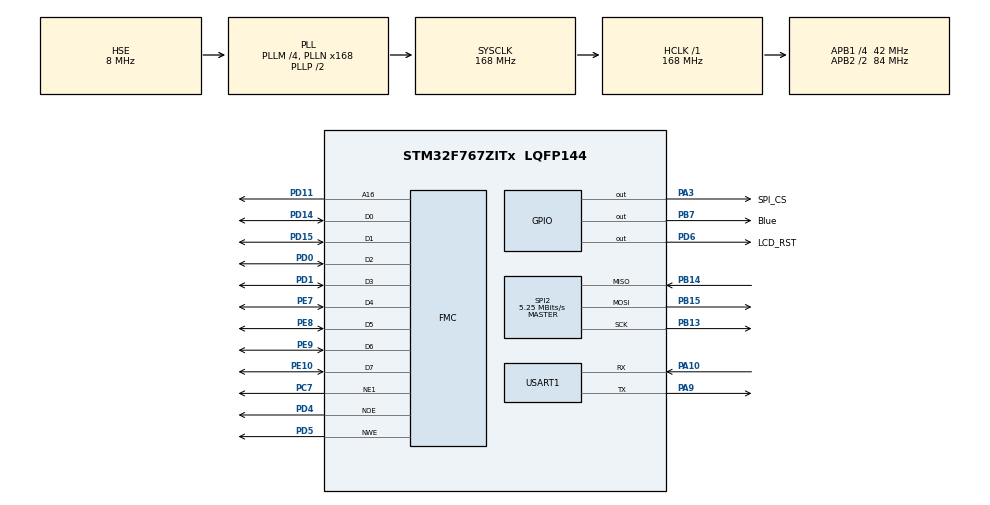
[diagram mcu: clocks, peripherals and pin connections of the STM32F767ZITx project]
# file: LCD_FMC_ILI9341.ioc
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FATFS._MAX_SS=4096
FATFS._USE_LFN=1
FMC.AddressSetupTime1=2
FMC.DataSetupTime1=15
FMC.ExtendedAddressSetupTime1=2
FMC.ExtendedBusTurnAroundDuration1=3
FMC.ExtendedDataSetupTime1=3
FMC.ExtendedMode1=FMC_EXTENDED_MODE_ENABLE
Mcu.Family=STM32F7
Mcu.Name=STM32F767ZITx
Mcu.Package=LQFP144
NVIC.PriorityGroup=NVIC_PRIORITYGROUP_4
NVIC.TIM2_IRQn=true\:0\:0\:false\:false\:true\:true\:true
NVIC.USART1_IRQn=true\:0\:0\:false\:false\:true\:true\:true
PA10.Mode=Asynchronous
PA10.Signal=USART1_RX
PA13.Mode=Serial_Wire
PA13.Signal=SYS_JTMS-SWDIO
PA14.Mode=Serial_Wire
PA14.Signal=SYS_JTCK-SWCLK
PA3.GPIO_Label=SPI_CS
PA3.GPIO_Speed=GPIO_SPEED_FREQ_MEDIUM
PA3.Signal=GPIO_Output
PA9.Mode=Asynchronous
PA9.Signal=USART1_TX
PB13.Mode=Full_Duplex_Master
PB13.Signal=SPI2_SCK
PB14.Mode=Full_Duplex_Master
PB14.Signal=SPI2_MISO
PB15.Mode=Full_Duplex_Master
PB15.Signal=SPI2_MOSI
PB7.GPIO_Label=Blue
PB7.GPIO_Speed=GPIO_SPEED_FREQ_MEDIUM
PB7.Signal=GPIO_Output
PC7.Mode=NorPsramChipSelect1_1
PC7.Signal=FMC_NE1
PD0.Signal=FMC_D2_DA2
PD1.Signal=FMC_D3_DA3
PD11.Signal=FMC_A16_CLE
PD14.Signal=FMC_D0_DA0
PD15.Signal=FMC_D1_DA1
PD4.Signal=FMC_NOE
PD5.Signal=FMC_NWE
PD6.GPIO_Label=LCD_RST
PD6.GPIO_Speed=GPIO_SPEED_FREQ_HIGH
PD6.Signal=GPIO_Output
PE10.Signal=FMC_D7_DA7
PE7.Signal=FMC_D4_DA4
PE8.Signal=FMC_D5_DA5
PE9.Signal=FMC_D6_DA6
PH0/OSC_IN.Mode=HSE-External-Clock-Source
PH0/OSC_IN.Signal=RCC_OSC_IN
PH1/OSC_OUT.Mode=HSE-External-Clock-Source
PH1/OSC_OUT.Signal=RCC_OSC_OUT
ProjectManager.HeapSize=0x1000
ProjectManager.StackSize=0x2000
ProjectManager.TargetToolchain=TrueSTUDIO
RCC.AHBFreq_Value=168000000
RCC.APB1CLKDivider=RCC_HCLK_DIV4
RCC.APB1Freq_Value=42000000
RCC.APB1TimFreq_Value=84000000
RCC.APB2CLKDivider=RCC_HCLK_DIV2
RCC.APB2Freq_Value=84000000
RCC.APB2TimFreq_Value=168000000
RCC.CortexFreq_Value=168000000
RCC.HCLKFreq_Value=168000000
RCC.HSE_VALUE=8000000
RCC.HSI_VALUE=16000000
RCC.LSE_VALUE=32768
RCC.PLLM=4
RCC.PLLN=168
RCC.PLLQ=7
RCC.PLLSourceVirtual=RCC_PLLSOURCE_HSE
RCC.SYSCLKFreq_VALUE=168000000
RCC.SYSCLKSource=RCC_SYSCLKSOURCE_PLLCLK
RCC.USBFreq_Value=48000000
RCC.VCOOutputFreq_Value=336000000
SH.FMC_A16_CLE.0=FMC_A16,A16_1
SH.FMC_D0_DA0.0=FMC_D0,8b-d1
SH.FMC_D1_DA1.0=FMC_D1,8b-d1
SH.FMC_D2_DA2.0=FMC_D2,8b-d1
SH.FMC_D3_DA3.0=FMC_D3,8b-d1
SH.FMC_D4_DA4.0=FMC_D4,8b-d1
SH.FMC_D5_DA5.0=FMC_D5,8b-d1
SH.FMC_D6_DA6.0=FMC_D6,8b-d1
SH.FMC_D7_DA7.0=FMC_D7,8b-d1
SH.FMC_NOE.0=FMC_NOE,Lcd1
SH.FMC_NWE.0=FMC_NWE,Lcd1
SPI2.BaudRatePrescaler=SPI_BAUDRATEPRESCALER_8
SPI2.CalculateBaudRate=5.25 MBits/s
SPI2.DataSize=SPI_DATASIZE_8BIT
SPI2.Direction=SPI_DIRECTION_2LINES
SPI2.Mode=SPI_MODE_MASTER
SPI2.VirtualType=VM_MASTER
TIM2.Period=20
TIM2.Prescaler=41999
USART1.VirtualMode-Asynchronous=VM_ASYNC
VP_FATFS_VS_Generic.Mode=User_defined
VP_RNG_VS_RNG.Mode=RNG_Activate
VP_TIM2_VS_ClockSourceINT.Mode=Internal
board=custom

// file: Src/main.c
/* USER CODE BEGIN Header */
/**
  ******************************************************************************
  * @file           : main.c
  * @brief          : Main program body
  ******************************************************************************
  * @attention
  *
  * <h2><center>&copy; Copyright (c) 2019 STMicroelectronics.
  * All rights reserved.</center></h2>
  *
  * This software component is licensed by ST under BSD 3-Clause license,
  * the "License"; You may not use this file except in compliance with the
  * License. You may obtain a copy of the License at:
  *                        opensource.org/licenses/BSD-3-Clause
  *
  ******************************************************************************
  */
/* USER CODE END Header */

#include "main.h"
#include "fatfs.h"

/* USER CODE BEGIN Includes */
#include <string.h>
#include <stdio.h>
#include "DWT_us.h"
#include "sd.h"
/* USER CODE END Includes */

RNG_HandleTypeDef hrng;

SPI_HandleTypeDef hspi2;

TIM_HandleTypeDef htim2;

UART_HandleTypeDef huart1;

SRAM_HandleTypeDef hsram1;

/* USER CODE BEGIN PV */
volatile uint16_t Timer1 = 0;
uint8_t sect[512];
//char buffer1[512] = "Test text stringTest text stringTest text stringTest text stringTest text stringTest text stringTest text stringTest text stringTest text stringTest text stringTest text stringTest text stringTest text stringTest text stringTest text stringTest text stringTest text stringTest text stringTest text stringTest text stringTest text stringTest text stringTest text stringTest text stringTest text stringTest text stringTest text stringTest text stringTest text stringTest text stringTest text stringTest text string";
extern char str1[60];
uint32_t byteswritten,bytesread;
uint8_t result;
extern char USERPath[4]; /* logical drive path */
FATFS SDFatFs;
//FATFS *fs;
FIL MyFile;
FILINFO fno;
/* USER CODE END PV */

void SystemClock_Config(void);
static void MX_GPIO_Init(void);
static void MX_FMC_Init(void);
static void MX_RNG_Init(void);
static void MX_GFXSIMULATOR_Init(void);
static void MX_SPI2_Init(void);
static void MX_TIM2_Init(void);
static void MX_USART1_UART_Init(void);

/* USER CODE BEGIN 0 */
/*__STATIC_INLINE void DelayMicro(__IO uint32_t micros)
{
       micros *=(SystemCoreClock / 1000000) / 5;
       while (micros--);
}*/
FRESULT ReadLongFile(void)
{
	uint16_t i=0, i1=0;
	uint32_t ind=0;
	uint32_t f_size = fno.fsize;
	sprintf(str1,"fsize: %lu\r\n",(unsigned long)f_size);
	HAL_UART_Transmit(&huart1,(uint8_t*)str1,strlen(str1),0x1000);
	ind=0;
	do
	{
		if(f_size<512)
		{
			i1=f_size;
		}
		else
		{
			i1=512;
		}
		f_size-=i1;
		f_lseek(&MyFile,ind);
		f_read(&MyFile,sect,i1,(UINT *)&bytesread);
		for(i=0;i<bytesread;i++)
		{
			HAL_UART_Transmit(&huart1,sect+i,1,0x1000);
		}
		ind+=i1;
	}
	while (f_size>0);
	HAL_UART_Transmit(&huart1,(uint8_t*)"\r\n",2,0x1000);
	return FR_OK;
}
/* USER CODE END 0 */

int main(void)
{
  /* USER CODE BEGIN 1 */
	FRESULT res; //результат выполнения
	uint8_t wtext[]="Hello from STM32!!!";
	FILINFO fileInfo;
	char *fn;
	DIR dir;
	DWORD fre_clust, fre_sect, tot_sect;
  /* USER CODE END 1 */

  /* MCU Configuration--------------------------------------------------------*/

  /* Reset of all peripherals, Initializes the Flash interface and the Systick. */
  HAL_Init();

  /* Configure the system clock */
  SystemClock_Config();

  /* Initialize all configured peripherals */
  MX_GPIO_Init();
  MX_FMC_Init();
  MX_RNG_Init();
  MX_GFXSIMULATOR_Init();
  MX_SPI2_Init();
  MX_TIM2_Init();
  MX_USART1_UART_Init();
  MX_FATFS_Init();
  /* USER CODE BEGIN 2 */
  HAL_TIM_Base_Start_IT(&htim2);

  disk_initialize(SDFatFs.drv);
  /*if(f_mount(&SDFatFs,(TCHAR const*)USERPath,0)!=FR_OK)
  {
	  Error_Handler();
  }
  else
  {
	  FRESULT fr = f_stat("123.TXT",&fno);
	  switch (fr)
	  {
	      case FR_OK:
	    	  sprintf(str1,"Size: %lu\r\n",fno.fsize);
	    	  HAL_UART_Transmit(&huart1,(uint8_t*)str1,strlen(str1),0x1000);
	          break;
	      case FR_NO_FILE:
	    	  HAL_UART_Transmit(&huart1,(uint8_t*)"It is not exist.\r\n", 18, 0x1000);
	          break;
	      default:
	    	  sprintf(str1,"An error occured. (%d)\r\n",fr);
	    	  HAL_UART_Transmit(&huart1,(uint8_t*)str1,strlen(str1),0x1000);
	  }
	  if (f_open(&MyFile,"123.TXT",FA_READ)!=FR_OK)
	  {
		  Error_Handler();
	  }
	  else
	  {
		  ReadLongFile();
		  f_close(&MyFile);
	  }
	  fr = f_open(&MyFile,"123.TXT",FA_READ);
	  if (fr==FR_OK)
	  {
		  ReadLongFile();
		  f_close(&MyFile);
	  }

	  if(f_open(&MyFile,"mywrite.txt",FA_CREATE_ALWAYS|FA_WRITE)!=FR_OK)
	  {
	      Error_Handler();
	  }
	  else
	  {
	      res=f_write(&MyFile,wtext,sizeof(wtext),(void*)&byteswritten);
	      if((byteswritten==0)||(res!=FR_OK))
	      {
	    	  Error_Handler();
	      }
	      f_close(&MyFile);
	  }
  }*/

  //read dir
  if(f_mount(&SDFatFs,(TCHAR const*)USERPath,0)!=FR_OK)
  {
	  Error_Handler();
  }
  else
  {
	  //fileInfo.fname = (char*)sect;
	  //fileInfo.fsize = sizeof(sect);
	  result = f_opendir(&dir, "/");
	  if (result == FR_OK)
	  {
		  while(1)
		  {
		      result = f_readdir(&dir, &fileInfo);
		      if (result==FR_OK && fileInfo.fname[0])
		      {
		    	  fn = fileInfo.fname;
		    	  if(strlen(fn)) HAL_UART_Transmit(&huart1,(uint8_t*)fn,strlen(fn),0x1000);
		    	  else HAL_UART_Transmit(&huart1,(uint8_t*)fileInfo.fname,strlen((char*)fileInfo.fname),0x1000);
		    	  if(fileInfo.fattrib&AM_DIR)
		    	  {
		    	      HAL_UART_Transmit(&huart1,(uint8_t*)" [DIR]",7,0x1000);
		    	  }
		      }
		      else break;
		      HAL_UART_Transmit(&huart1,(uint8_t*)"\r\n",2,0x1000);
		  }
		  f_closedir(&dir);
	  }
  }
  FATFS_UnLinkDriver(USERPath);

  TFT9341_ini();
  TFT9341_FillScreen(RED);
  /* USER CODE END 2 */

  /* Infinite loop */
  /* USER CODE BEGIN WHILE */
  uint16_t color = 0;
  uint32_t counter = 0;
  while (1)
  {
    /* USER CODE END WHILE */

    /* USER CODE BEGIN 3 */
	  for (counter=0; counter<5; counter++)
	  {
		  color = TFT9341_RandColor();
		  TFT9341_FillRectangle(color,0,0,119,159);
		  HAL_Delay(100);
		  color = TFT9341_RandColor();
		  TFT9341_FillRectangle(color,120,0,239,159);
		  HAL_Delay(100);
		  color = TFT9341_RandColor();
		  TFT9341_FillRectangle(color,0,160,119,319);
		  HAL_Delay(100);
		  color = TFT9341_RandColor();
		  TFT9341_FillRectangle(color,120,160,239,319);
		  HAL_Delay(100);
	  }
	  HAL_Delay(500);
	  TFT9341_FillScreen(BLACK);
	  for(counter=0; counter<15000; counter++)
	  {
		  color = TFT9341_RandColor();

		  TFT9341_DrawPixel(HAL_RNG_GetRandomNumber(&hrng)%240,HAL_RNG_GetRandomNumber(&hrng)%320, color);
		  DelayMicro(100);
	  }
	  HAL_Delay(1000);
	  TFT9341_FillScreen(BLACK);
	  for(int j=0;j<3;j++)
	  {
		  for(counter=0; counter<240; counter++)
		  {
			  color = TFT9341_RandColor();
			  TFT9341_DrawLine(color, counter, 0, counter, 319);
		  }
		  HAL_Delay(10);
	  }
	  HAL_Delay(1000);
	  TFT9341_FillScreen(BLACK);
	  for(counter=0; counter<80; counter++)
	  {
		  color = TFT9341_RandColor();
		  uint16_t y1 = HAL_RNG_GetRandomNumber(&hrng)%320;
		  uint16_t y2 = HAL_RNG_GetRandomNumber(&hrng)%320;
		  TFT9341_DrawLine(color, 2*counter, y1, 3*counter, y2);
		  HAL_Delay(10);
	  }
	  HAL_Delay(1000);
	  TFT9341_FillScreen(BLACK);

	  for(counter=0;counter<3;counter++)
	  {
		  for(int i=0;i<120;i++)
		  {
			  color = TFT9341_RandColor();
			  TFT9341_DrawRect(color,i,i,239-i,319-i);
		  }
		  HAL_Delay(100);
		  if (counter<4) TFT9341_FillScreen(BLACK);
	 }
	 HAL_Delay(1000);
	 TFT9341_FillScreen(BLACK);

	 for(counter=0;counter<100;counter++)
	 {
		 color = TFT9341_RandColor();
		 //uint16_t x = HAL_RNG_GetRandomNumber(&hrng)%190+30;
		 uint16_t y = HAL_RNG_GetRandomNumber(&hrng)%270+30;
		 TFT9341_DrawCircle(20+2*counter, y, 20, color);
	 }
	 HAL_Delay(1000);
	 TFT9341_FillScreen(BLACK);
  }
  /* USER CODE END 3 */
}

void SystemClock_Config(void)
{
  RCC_OscInitTypeDef RCC_OscInitStruct = {0};
  RCC_ClkInitTypeDef RCC_ClkInitStruct = {0};
  RCC_PeriphCLKInitTypeDef PeriphClkInitStruct = {0};

  /** Configure the main internal regulator output voltage
  */
  __HAL_RCC_PWR_CLK_ENABLE();
  __HAL_PWR_VOLTAGESCALING_CONFIG(PWR_REGULATOR_VOLTAGE_SCALE2);
  /** Initializes the CPU, AHB and APB busses clocks
  */
  RCC_OscInitStruct.OscillatorType = RCC_OSCILLATORTYPE_HSE;
  RCC_OscInitStruct.HSEState = RCC_HSE_BYPASS;
  RCC_OscInitStruct.PLL.PLLState = RCC_PLL_ON;
  RCC_OscInitStruct.PLL.PLLSource = RCC_PLLSOURCE_HSE;
  RCC_OscInitStruct.PLL.PLLM = 4;
  RCC_OscInitStruct.PLL.PLLN = 168;
  RCC_OscInitStruct.PLL.PLLP = RCC_PLLP_DIV2;
  RCC_OscInitStruct.PLL.PLLQ = 7;
  if (HAL_RCC_OscConfig(&RCC_OscInitStruct) != HAL_OK)
  {
    Error_Handler();
  }
  /** Initializes the CPU, AHB and APB busses clocks
  */
  RCC_ClkInitStruct.ClockType = RCC_CLOCKTYPE_HCLK|RCC_CLOCKTYPE_SYSCLK
                              |RCC_CLOCKTYPE_PCLK1|RCC_CLOCKTYPE_PCLK2;
  RCC_ClkInitStruct.SYSCLKSource = RCC_SYSCLKSOURCE_PLLCLK;
  RCC_ClkInitStruct.AHBCLKDivider = RCC_SYSCLK_DIV1;
  RCC_ClkInitStruct.APB1CLKDivider = RCC_HCLK_DIV4;
  RCC_ClkInitStruct.APB2CLKDivider = RCC_HCLK_DIV2;

  if (HAL_RCC_ClockConfig(&RCC_ClkInitStruct, FLASH_LATENCY_5) != HAL_OK)
  {
    Error_Handler();
  }
  PeriphClkInitStruct.PeriphClockSelection = RCC_PERIPHCLK_USART1|RCC_PERIPHCLK_CLK48;
  PeriphClkInitStruct.Usart1ClockSelection = RCC_USART1CLKSOURCE_PCLK2;
  PeriphClkInitStruct.Clk48ClockSelection = RCC_CLK48SOURCE_PLL;
  if (HAL_RCCEx_PeriphCLKConfig(&PeriphClkInitStruct) != HAL_OK)
  {
    Error_Handler();
  }
}

static void MX_GFXSIMULATOR_Init(void)
{

}

static void MX_RNG_Init(void)
{

  hrng.Instance = RNG;
  if (HAL_RNG_Init(&hrng) != HAL_OK)
  {
    Error_Handler();
  }

}

static void MX_SPI2_Init(void)
{

  /* SPI2 parameter configuration*/
  hspi2.Instance = SPI2;
  hspi2.Init.Mode = SPI_MODE_MASTER;
  hspi2.Init.Direction = SPI_DIRECTION_2LINES;
  hspi2.Init.DataSize = SPI_DATASIZE_8BIT;
  hspi2.Init.CLKPolarity = SPI_POLARITY_LOW;
  hspi2.Init.CLKPhase = SPI_PHASE_1EDGE;
  hspi2.Init.NSS = SPI_NSS_SOFT;
  hspi2.Init.BaudRatePrescaler = SPI_BAUDRATEPRESCALER_8;
  hspi2.Init.FirstBit = SPI_FIRSTBIT_MSB;
  hspi2.Init.TIMode = SPI_TIMODE_DISABLE;
  hspi2.Init.CRCCalculation = SPI_CRCCALCULATION_DISABLE;
  hspi2.Init.CRCPolynomial = 7;
  hspi2.Init.CRCLength = SPI_CRC_LENGTH_DATASIZE;
  hspi2.Init.NSSPMode = SPI_NSS_PULSE_ENABLE;
  if (HAL_SPI_Init(&hspi2) != HAL_OK)
  {
    Error_Handler();
  }

}

static void MX_TIM2_Init(void)
{

  TIM_ClockConfigTypeDef sClockSourceConfig = {0};
  TIM_MasterConfigTypeDef sMasterConfig = {0};

  htim2.Instance = TIM2;
  htim2.Init.Prescaler = 41999;
  htim2.Init.CounterMode = TIM_COUNTERMODE_UP;
  htim2.Init.Period = 20;
  htim2.Init.ClockDivision = TIM_CLOCKDIVISION_DIV1;
  htim2.Init.AutoReloadPreload = TIM_AUTORELOAD_PRELOAD_DISABLE;
  if (HAL_TIM_Base_Init(&htim2) != HAL_OK)
  {
    Error_Handler();
  }
  sClockSourceConfig.ClockSource = TIM_CLOCKSOURCE_INTERNAL;
  if (HAL_TIM_ConfigClockSource(&htim2, &sClockSourceConfig) != HAL_OK)
  {
    Error_Handler();
  }
  sMasterConfig.MasterOutputTrigger = TIM_TRGO_RESET;
  sMasterConfig.MasterSlaveMode = TIM_MASTERSLAVEMODE_DISABLE;
  if (HAL_TIMEx_MasterConfigSynchronization(&htim2, &sMasterConfig) != HAL_OK)
  {
    Error_Handler();
  }

}

static void MX_USART1_UART_Init(void)
{

  huart1.Instance = USART1;
  huart1.Init.BaudRate = 115200;
  huart1.Init.WordLength = UART_WORDLENGTH_8B;
  huart1.Init.StopBits = UART_STOPBITS_1;
  huart1.Init.Parity = UART_PARITY_NONE;
  huart1.Init.Mode = UART_MODE_TX_RX;
  huart1.Init.HwFlowCtl = UART_HWCONTROL_NONE;
  huart1.Init.OverSampling = UART_OVERSAMPLING_16;
  huart1.Init.OneBitSampling = UART_ONE_BIT_SAMPLE_DISABLE;
  huart1.AdvancedInit.AdvFeatureInit = UART_ADVFEATURE_NO_INIT;
  if (HAL_UART_Init(&huart1) != HAL_OK)
  {
    Error_Handler();
  }

}

/* FMC initialization function */
static void MX_FMC_Init(void)
{
  FMC_NORSRAM_TimingTypeDef Timing;
  FMC_NORSRAM_TimingTypeDef ExtTiming;

  /** Perform the SRAM1 memory initialization sequence
  */
  hsram1.Instance = FMC_NORSRAM_DEVICE;
  hsram1.Extended = FMC_NORSRAM_EXTENDED_DEVICE;
  /* hsram1.Init */
  hsram1.Init.NSBank = FMC_NORSRAM_BANK1;
  hsram1.Init.DataAddressMux = FMC_DATA_ADDRESS_MUX_DISABLE;
  hsram1.Init.MemoryType = FMC_MEMORY_TYPE_SRAM;
  hsram1.Init.MemoryDataWidth = FMC_NORSRAM_MEM_BUS_WIDTH_8;
  hsram1.Init.BurstAccessMode = FMC_BURST_ACCESS_MODE_DISABLE;
  hsram1.Init.WaitSignalPolarity = FMC_WAIT_SIGNAL_POLARITY_LOW;
  hsram1.Init.WaitSignalActive = FMC_WAIT_TIMING_BEFORE_WS;
  hsram1.Init.WriteOperation = FMC_WRITE_OPERATION_ENABLE;
  hsram1.Init.WaitSignal = FMC_WAIT_SIGNAL_DISABLE;
  hsram1.Init.ExtendedMode = FMC_EXTENDED_MODE_ENABLE;
  hsram1.Init.AsynchronousWait = FMC_ASYNCHRONOUS_WAIT_DISABLE;
  hsram1.Init.WriteBurst = FMC_WRITE_BURST_DISABLE;
  hsram1.Init.ContinuousClock = FMC_CONTINUOUS_CLOCK_SYNC_ONLY;
  hsram1.Init.WriteFifo = FMC_WRITE_FIFO_ENABLE;
  hsram1.Init.PageSize = FMC_PAGE_SIZE_NONE;
  /* Timing */
  Timing.AddressSetupTime = 2;
  Timing.AddressHoldTime = 15;
  Timing.DataSetupTime = 15;
  Timing.BusTurnAroundDuration = 15;
  Timing.CLKDivision = 16;
  Timing.DataLatency = 17;
  Timing.AccessMode = FMC_ACCESS_MODE_A;
  /* ExtTiming */
  ExtTiming.AddressSetupTime = 2;
  ExtTiming.AddressHoldTime = 15;
  ExtTiming.DataSetupTime = 3;
  ExtTiming.BusTurnAroundDuration = 3;
  ExtTiming.CLKDivision = 16;
  ExtTiming.DataLatency = 17;
  ExtTiming.AccessMode = FMC_ACCESS_MODE_A;

  if (HAL_SRAM_Init(&hsram1, &Timing, &ExtTiming) != HAL_OK)
  {
    Error_Handler( );
  }

}

static void MX_GPIO_Init(void)
{
  GPIO_InitTypeDef GPIO_InitStruct = {0};

  /* GPIO Ports Clock Enable */
  __HAL_RCC_GPIOH_CLK_ENABLE();
  __HAL_RCC_GPIOA_CLK_ENABLE();
  __HAL_RCC_GPIOE_CLK_ENABLE();
  __HAL_RCC_GPIOB_CLK_ENABLE();
  __HAL_RCC_GPIOD_CLK_ENABLE();
  __HAL_RCC_GPIOC_CLK_ENABLE();

  /*Configure GPIO pin Output Level */
  HAL_GPIO_WritePin(SPI_CS_GPIO_Port, SPI_CS_Pin, GPIO_PIN_RESET);

  /*Configure GPIO pin Output Level */
  HAL_GPIO_WritePin(LCD_RST_GPIO_Port, LCD_RST_Pin, GPIO_PIN_RESET);

  /*Configure GPIO pin Output Level */
  HAL_GPIO_WritePin(Blue_GPIO_Port, Blue_Pin, GPIO_PIN_RESET);

  /*Configure GPIO pin : SPI_CS_Pin */
  GPIO_InitStruct.Pin = SPI_CS_Pin;
  GPIO_InitStruct.Mode = GPIO_MODE_OUTPUT_PP;
  GPIO_InitStruct.Pull = GPIO_NOPULL;
  GPIO_InitStruct.Speed = GPIO_SPEED_FREQ_MEDIUM;
  HAL_GPIO_Init(SPI_CS_GPIO_Port, &GPIO_InitStruct);

  /*Configure GPIO pin : LCD_RST_Pin */
  GPIO_InitStruct.Pin = LCD_RST_Pin;
  GPIO_InitStruct.Mode = GPIO_MODE_OUTPUT_PP;
  GPIO_InitStruct.Pull = GPIO_NOPULL;
  GPIO_InitStruct.Speed = GPIO_SPEED_FREQ_HIGH;
  HAL_GPIO_Init(LCD_RST_GPIO_Port, &GPIO_InitStruct);

  /*Configure GPIO pin : Blue_Pin */
  GPIO_InitStruct.Pin = Blue_Pin;
  GPIO_InitStruct.Mode = GPIO_MODE_OUTPUT_PP;
  GPIO_InitStruct.Pull = GPIO_NOPULL;
  GPIO_InitStruct.Speed = GPIO_SPEED_FREQ_MEDIUM;
  HAL_GPIO_Init(Blue_GPIO_Port, &GPIO_InitStruct);

}

/* USER CODE BEGIN 4 */
void HAL_TIM_PeriodElapsedCallback(TIM_HandleTypeDef *htim)
{
	if(htim==&htim2)
	{
		Timer1++;
	}
}
/* USER CODE END 4 */

void Error_Handler(void)
{
}

/************************ (C) COPYRIGHT STMicroelectronics *****END OF FILE****/
